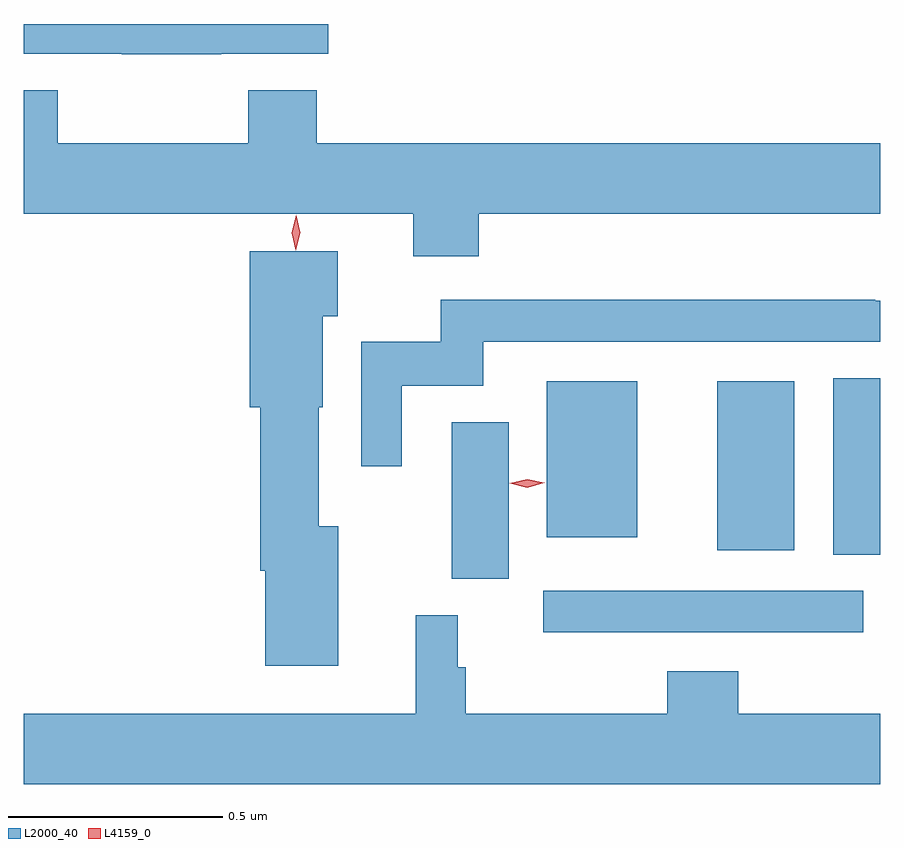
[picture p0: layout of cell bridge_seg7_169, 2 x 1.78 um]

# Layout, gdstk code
import gdstk
lib = gdstk.Library(unit=1e-6, precision=1e-09)
def R(c, l, rs):  # rectangles x0, y0, x1, y1
    for r in rs: c.add(gdstk.rectangle(r[:2], r[2:], *l))
def P(c, l, *ps):  # polygons
    for p in ps: c.add(gdstk.Polygon(p, *l))
L2000_40 = (2000, 40)
L4159_0 = (4159, 0)

bridge_seg7_169 = lib.new_cell('bridge_seg7_169')
R(bridge_seg7_169, L2000_40, [(401.331,1050.255,402.079,1050.351), (401.117,1050.379,401.251,1050.745), (402.008,1050.436,402.118,1050.848), (401.738,1050.446,401.917,1050.841), (401.339,1050.476,401.551,1050.841)])
P(bridge_seg7_169, L2000_40, [(400.579,1051.605),(400.829,1051.605),(400.829,1051.675),(400.118,1051.675),(400.118,1051.605),(400.347,1051.605),(400.347,1051.604),(400.579,1051.604)],
  [(401.18,1051.232),(402.118,1051.232),(402.118,1051.396),(400.802,1051.396),(400.802,1051.52),(400.642,1051.52),(400.642,1051.396),(400.197,1051.396),(400.197,1051.52),(400.118,1051.52),(400.118,1051.232),(401.027,1051.232),(401.027,1051.133),(401.18,1051.133)],
  [(400.852,1050.502),(400.807,1050.502),(400.807,1050.78),(400.816,1050.78),(400.816,1050.993),(400.851,1050.993),(400.851,1051.144),(400.646,1051.144),(400.646,1050.78),(400.67,1050.78),(400.67,1050.398),(400.682,1050.398),(400.682,1050.176),(400.852,1050.176)],
  [(401.001,1050.83),(401.191,1050.83),(401.191,1050.933),(402.118,1050.933),(402.118,1051.029),(402.107,1051.029),(402.107,1051.031),(401.092,1051.031),(401.092,1050.933),(400.906,1050.933),(400.906,1050.642),(401.001,1050.642)],
  [(402.118,1050.064),(401.786,1050.064),(401.786,1050.163),(401.621,1050.163),(401.621,1050.064),(401.15,1050.064),(401.15,1050.173),(401.132,1050.173),(401.132,1050.294),(401.033,1050.294),(401.033,1050.064),(400.118,1050.064),(400.118,1049.9),(402.118,1049.9)])
P(bridge_seg7_169, L4159_0, [(401.294,1050.592),(401.253,1050.602),(401.253,1050.602),(401.253,1050.602),(401.294,1050.612),(401.334,1050.603),(401.335,1050.603),(401.334,1050.603)],
  [(400.753,1051.147),(400.753,1051.147),(400.744,1051.187),(400.754,1051.228),(400.754,1051.228),(400.754,1051.228),(400.764,1051.187),(400.753,1051.147)])

lib.write_gds('bridge_seg7_169.gds')
